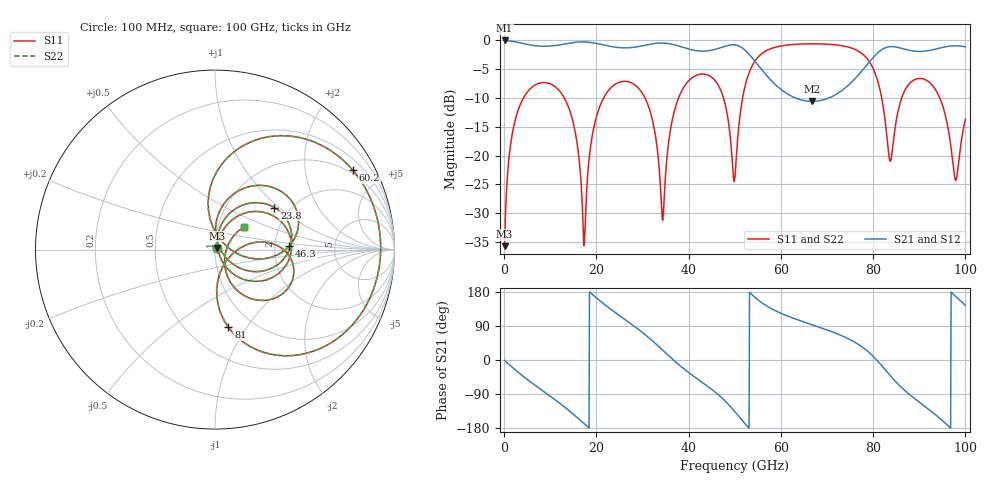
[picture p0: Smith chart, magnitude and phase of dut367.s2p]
! Touchstone file exported from HFSS 2026.1.0
!  File:  C:/ffzhzh/LocalFiles/Ansys_Project_Files/temp_train_TSV_RDL_367_1783712552_45496.aedt
!  Generated:  03:54:45 AM Jul 11, 2026
!  Design:  TSV_RDL
!  Project:  temp_train_TSV_RDL_367_1783712552_45496
! Variables:
!  h_bsmrdl = 4.57um
!  h_ox = 20um
!  h_rdl = 5um
!  h_sub = 97.2um
!  h_tmrdl = 4.06um
!  h_tsv = 97.2um
!  h_via = 3um
!  l_bsmrdl = 210.98um
!  l_sub = 2990.36um
!  l_tmrdl = 455.59um
!  m_sub = 200um
!  pitch = 41.95um
!  r_tsv = 7.31um
!  s_tmrdl = 10um
!  w_bsmrdl = 27.92um
!  w_sub = 500um
!  w_tmrdl = 17.1um
!  x_tsv_center1 = 464.14um
!  x_tsv_center2 = 703.04um
!  x_tsv_center3 = 1175.73um
!  x_tsv_center4 = 1414.63um
!  x_tsv_center5 = 1887.32um
!  x_tsv_center6 = 2126.22um
# GHz S MA R 50.000000
! Terminal data exported
! Port[1] = TM_RDL1_1_T1
! Port[2] = TM_RDL5_1_T1
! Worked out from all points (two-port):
!   1000 points, 100 MHz to 100 GHz, reference 50 ohm
!   highest |S21| = -0.12 dB at 100 MHz (marker M1); lowest = -10.6 dB at 66.8 GHz (marker M2)
!   |S21| within 3 dB of the highest: start of sweep to 53.77 GHz; 79.95 GHz to end of sweep
!   lowest |S11| = -35.7 dB at 100 MHz (marker M3), VSWR 1.03, Z = 51.4 + j0.982 ohm
!   |S11| at or under -10 dB: 13.01 GHz to 21.6 GHz (8.591 GHz wide, 49.6 % of centre); 30.51 GHz to 37.84 GHz (7.331 GHz wide, 21.5 % of centre); 94.42 GHz to end of sweep (the widest 3 of 6)
!   |S22| runs from -35.7 to -0.7 dB; largest |S21 - S12| = 7.9e-14
!   S11 on the Smith chart (normalised r, x): 100 MHz: 1.03, +0.02; 23.8 GHz: 1.66, +0.93; 46.3 GHz: 2.40, +0.11; 60.2 GHz: 0.86, +3.55; 81 GHz: 0.77, -0.83; 100 GHz: 1.33, +0.35
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0.1  0.01649 35.4  0.9867 -1.1  0.9867 -1.1  0.01649 35.4
! Gamma 0 0 0 0
! Port Impedance 50 0 50 0
2.3  0.195 59.6  0.9617 -24.8  0.9617 -24.8  0.195 59.6
7.3  0.4176 15.3  0.8836 -72.0  0.8836 -72.0  0.4177 15.3
13.9  0.2655 -41.3  0.9313 -131.8  0.9313 -131.8  0.2655 -41.3
16.8  0.04844 -54.5  0.9586 -162.1  0.9586 -162.1  0.04843 -54.7
23.8  0.4056 35.3  0.8666 127.7  0.8666 127.7  0.4055 35.3
30.1  0.3383 -17.2  0.8893 71.5  0.8893 71.5  0.3383 -17.1
33.4  0.09612 -38.6  0.9358 36.9  0.9358 36.9  0.09615 -38.3
34.4  0.02763 32.4  0.9377 25.7  0.9377 25.7  0.02806 32.5
38.2  0.342 69.6  0.8742 -15.6  0.8742 -15.6  0.3422 69.5
46.3  0.4133 2.7  0.8392 -90.2  0.8392 -90.2  0.4134 2.6
50.1  0.07004 71.2  0.9024 -137.6  0.9024 -137.6  0.06938 71.4
53.2  0.5307 81.1  0.7425 178.9  0.7425 178.9  0.5305 81.1
60.2  0.8866 29.9  0.368 122.3  0.368 122.3  0.8865 29.9
66.7  0.9234 3.0  0.2938 93.3  0.2938 93.3  0.9234 3.0
66.8  0.9234 2.7  0.2938 92.9  0.2938 92.9  0.9234 2.7
74.5  0.8669 -30.3  0.4008 56.8  0.4008 56.8  0.8668 -30.3
81  0.4387 -80.2  0.7715 -2.9  0.7715 -2.9  0.4384 -80.3
83.4  0.1016 -62.5  0.87 -36.8  0.87 -36.8  0.1005 -62.8
91.1  0.4559 -30.5  0.7969 -121.2  0.7969 -121.2  0.4558 -30.3
97.8  0.06167 -21.4  0.8873 168.7  0.8873 168.7  0.06302 -21.0
100  0.2056 38.1  0.8693 143.9  0.8693 143.9  0.2061 37.8
